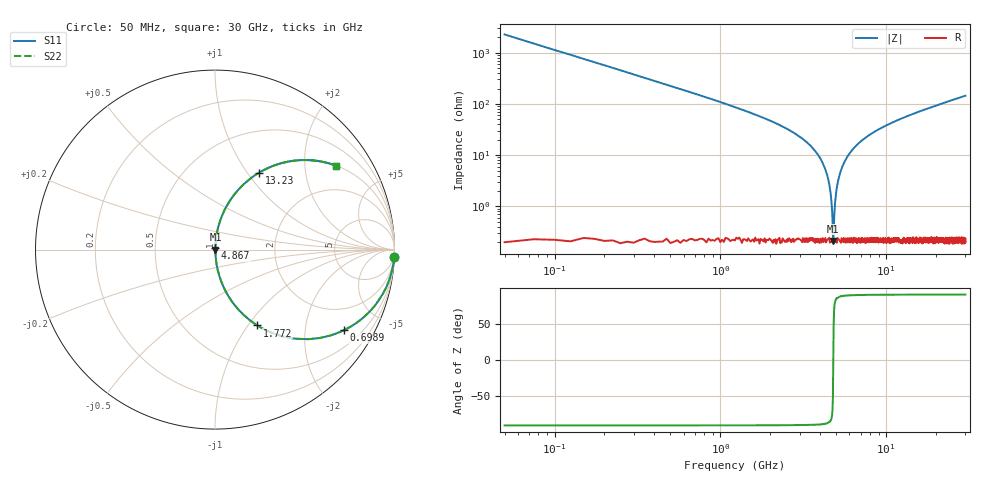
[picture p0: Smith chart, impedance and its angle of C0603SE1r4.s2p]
!	AVX Thin Film Operation 	Date: April 2014
!	Description: Accu-P® Series, Thin Film  SMD RF Capacitor
!	Part Number: 06031J1R4PBSTR
# MHZ S MA R 50
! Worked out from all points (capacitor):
!   1201 points, 50 MHz to 30 GHz, reference 50 ohm
!   read as one part in series: C = 1.4 pF near 199.8 MHz
!   lowest |Z| = 211 mohm at 4.792 GHz (marker M1)
!   series resonance near 4.795 GHz, so ESL is about 790 pH
!   S11 on the Smith chart (normalised r, x): 50 MHz: 1, -45; 698.9 MHz: 1.01, -3.18; 1.772 GHz: 1.00, -1.11; 4.867 GHz: 1.00, +0.01; 13.23 GHz: 1.00, +1.14; 30 GHz: 1.00, +2.89
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50  0.999 -2.5  0.044 87.5  0.044 87.5  0.999 -2.5
324.542  0.961 -16.0  0.276 74.0  0.276 74.0  0.961 -16.0
698.917  0.846 -32.1  0.532 57.8  0.532 57.8  0.846 -32.1
1772.125  0.484 -60.8  0.873 28.9  0.873 28.9  0.484 -60.8
3194.75  0.194 -78.2  0.979 11.2  0.979 11.2  0.194 -78.2
3993.417  0.087 -83.6  0.994 5.0  0.994 5.0  0.087 -83.6
4442.667  0.036 -84.5  0.997 2.1  0.997 2.1  0.036 -84.5
4567.458  0.023 -83.3  0.998 1.3  0.998 1.3  0.023 -83.3
4692.25  0.01 -77.4  0.998 0.6  0.998 0.6  0.01 -77.4
4792.083  0.002192 -7.0  0.998 0.0  0.998 0.0  0.002192 -7.0
4866.958  0.007397 72.5  0.998 -0.4  0.998 -0.4  0.007397 72.5
5041.667  0.024 83.4  0.998 -1.4  0.998 -1.4  0.024 83.4
5216.375  0.04 84.6  0.997 -2.3  0.997 -2.3  0.04 84.6
5490.917  0.064 84.4  0.996 -3.7  0.996 -3.7  0.064 84.4
6389.417  0.136 81.3  0.988 -7.8  0.988 -7.8  0.136 81.3
7837  0.235 75.9  0.97 -13.6  0.97 -13.6  0.235 75.9
10058.29  0.358 68.7  0.932 -21.0  0.932 -21.0  0.358 68.7
13228  0.493 60.2  0.868 -29.6  0.868 -29.6  0.493 60.2
15025  0.554 56.2  0.831 -33.7  0.831 -33.7  0.554 56.2
20016.67  0.681 46.9  0.73 -43.0  0.73 -43.0  0.681 46.9
25033.29  0.766 39.9  0.642 -50.0  0.642 -50.0  0.766 39.9
30000  0.822 34.6  0.569 -55.3  0.569 -55.3  0.822 34.6
